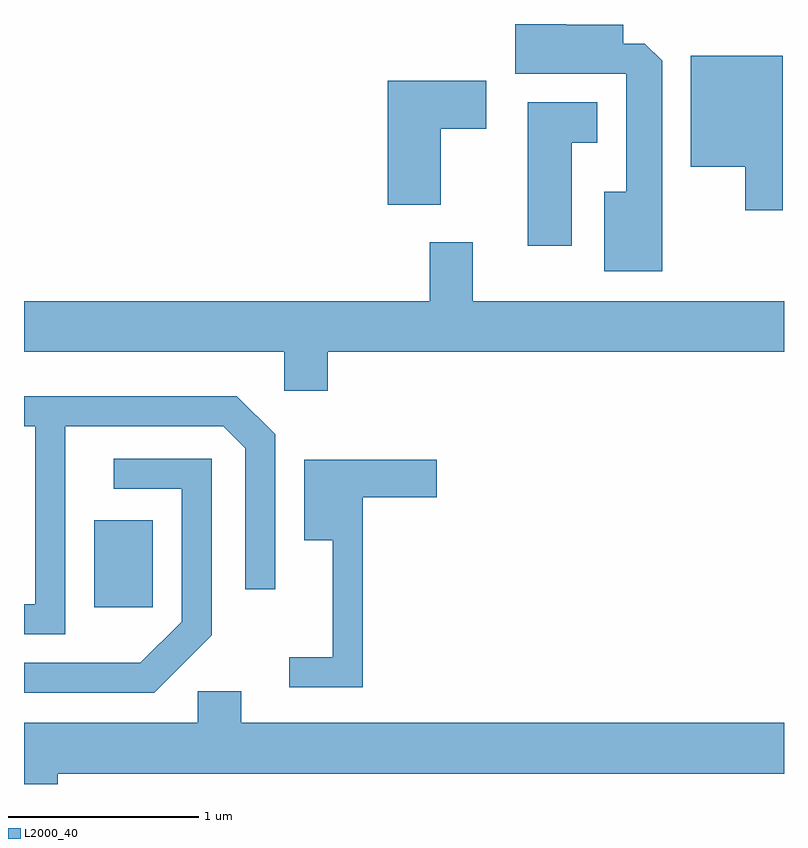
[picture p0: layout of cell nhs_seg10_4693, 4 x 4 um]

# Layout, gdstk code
import gdstk
lib = gdstk.Library(unit=1e-6, precision=1e-09)
def R(c, l, rs):  # rectangles x0, y0, x1, y1
    for r in rs: c.add(gdstk.rectangle(r[:2], r[2:], *l))
def P(c, l, *ps):  # polygons
    for p in ps: c.add(gdstk.Polygon(p, *l))
L2000_40 = (2000, 40)

nhs_seg10_4693 = lib.new_cell('nhs_seg10_4693')
R(nhs_seg10_4693, L2000_40, [(323.981,2121.451,324.289,2121.909)])
P(nhs_seg10_4693, L2000_40, [(326.969,2124.329),(326.879,2124.419),(326.764,2124.419),(326.764,2124.519),(326.464,2124.519),(326.464,2124.522),(326.196,2124.522),(326.196,2124.261),(326.781,2124.261),(326.781,2123.639),(326.666,2123.639),(326.666,2123.221),(326.969,2123.221)],
  [(327.604,2124.354),(327.121,2124.354),(327.121,2123.771),(327.406,2123.771),(327.406,2123.541),(327.604,2123.541)],
  [(325.804,2123.971),(326.044,2123.971),(326.044,2124.224),(325.526,2124.224),(325.526,2123.571),(325.804,2123.571)],
  [(326.494,2123.896),(326.629,2123.896),(326.629,2124.109),(326.261,2124.109),(326.261,2123.356),(326.494,2123.356)],
  [(325.209,2122.796),(327.611,2122.796),(327.611,2123.064),(325.974,2123.064),(325.974,2123.374),(325.746,2123.374),(325.746,2123.064),(323.611,2123.064),(323.611,2122.796),(324.981,2122.796),(324.981,2122.591),(325.209,2122.591)],
  [(323.829,2122.406),(324.659,2122.406),(324.776,2122.289),(324.776,2121.548),(324.934,2121.548),(324.934,2122.362),(324.732,2122.564),(323.611,2122.564),(323.611,2122.406),(323.671,2122.406),(323.671,2121.469),(323.611,2121.469),(323.611,2121.311),(323.829,2121.311)],
  [(324.599,2121.304),(324.599,2122.234),(324.083,2122.234),(324.083,2122.076),(324.441,2122.076),(324.441,2121.377),(324.224,2121.159),(323.611,2121.159),(323.611,2121.001),(324.297,2121.001)],
  [(325.394,2122.031),(325.784,2122.031),(325.784,2122.229),(325.086,2122.229),(325.086,2121.806),(325.236,2121.806),(325.236,2121.189),(325.008,2121.189),(325.008,2121.031),(325.394,2121.031)],
  [(323.789,2120.576),(327.611,2120.576),(327.611,2120.844),(324.754,2120.844),(324.754,2121.009),(324.526,2121.009),(324.526,2120.844),(323.611,2120.844),(323.611,2120.522),(323.789,2120.522)])

lib.write_gds('nhs_seg10_4693.gds')
